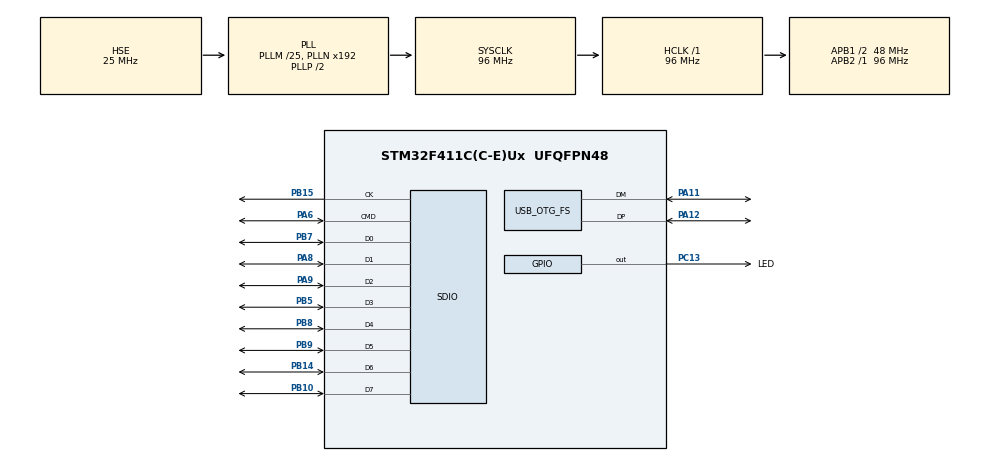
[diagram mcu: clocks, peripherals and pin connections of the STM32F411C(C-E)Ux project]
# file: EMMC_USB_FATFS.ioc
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FATFS._LFN_UNICODE=0
FATFS._MAX_SS=4096
FATFS._USE_LFN=2
Mcu.Family=STM32F4
Mcu.Name=STM32F411C(C-E)Ux
Mcu.Package=UFQFPN48
NVIC.OTG_FS_IRQn=true\:0\:0\:false\:false\:true\:false\:true\:true
NVIC.PriorityGroup=NVIC_PRIORITYGROUP_4
NVIC.TIM2_IRQn=true\:0\:0\:false\:false\:true\:true\:true\:true
PA11.Mode=Device_Only
PA11.Signal=USB_OTG_FS_DM
PA12.Mode=Device_Only
PA12.Signal=USB_OTG_FS_DP
PA13.Mode=Trace_Asynchronous_SW
PA13.Signal=SYS_JTMS-SWDIO
PA14.Mode=Trace_Asynchronous_SW
PA14.Signal=SYS_JTCK-SWCLK
PA6.Mode=mmc_8_bits_Wide_bus
PA6.Signal=SDIO_CMD
PA8.Mode=mmc_8_bits_Wide_bus
PA8.Signal=SDIO_D1
PA9.Mode=mmc_8_bits_Wide_bus
PA9.Signal=SDIO_D2
PB10.Mode=mmc_8_bits_Wide_bus
PB10.Signal=SDIO_D7
PB14.Mode=mmc_8_bits_Wide_bus
PB14.Signal=SDIO_D6
PB15.Mode=mmc_8_bits_Wide_bus
PB15.Signal=SDIO_CK
PB3.Mode=Trace_Asynchronous_SW
PB3.Signal=SYS_JTDO-SWO
PB5.Mode=mmc_8_bits_Wide_bus
PB5.Signal=SDIO_D3
PB7.Mode=mmc_8_bits_Wide_bus
PB7.Signal=SDIO_D0
PB8.Mode=mmc_8_bits_Wide_bus
PB8.Signal=SDIO_D4
PB9.Mode=mmc_8_bits_Wide_bus
PB9.Signal=SDIO_D5
PC13-ANTI_TAMP.GPIO_Label=LED
PC13-ANTI_TAMP.Signal=GPIO_Output
PH0\ -\ OSC_IN.Mode=HSE-External-Oscillator
PH0\ -\ OSC_IN.Signal=RCC_OSC_IN
PH1\ -\ OSC_OUT.Mode=HSE-External-Oscillator
PH1\ -\ OSC_OUT.Signal=RCC_OSC_OUT
ProjectManager.HeapSize=0x4000
ProjectManager.StackSize=0x8000
ProjectManager.TargetToolchain=STM32CubeIDE
RCC.48MHZClocksFreq_Value=48000000
RCC.AHBFreq_Value=96000000
RCC.APB1CLKDivider=RCC_HCLK_DIV2
RCC.APB1Freq_Value=48000000
RCC.APB1TimFreq_Value=96000000
RCC.APB2Freq_Value=96000000
RCC.APB2TimFreq_Value=96000000
RCC.CortexFreq_Value=96000000
RCC.HCLKFreq_Value=96000000
RCC.HSE_VALUE=25000000
RCC.HSI_VALUE=16000000
RCC.LSE_VALUE=32768
RCC.PLLM=25
RCC.SYSCLKFreq_VALUE=96000000
RCC.SYSCLKSource=RCC_SYSCLKSOURCE_PLLCLK
RCC.VCOOutputFreq_Value=192000000
SDIO.ClockDiv=2
TIM2.Period=1000000
TIM2.Prescaler=95
USB_DEVICE.CLASS_NAME_FS=MSC
USB_DEVICE.VirtualMode=Msc
USB_DEVICE.VirtualModeFS=Msc_FS
USB_OTG_FS.VirtualMode=Device_Only
VP_FATFS_VS_Generic.Mode=User_defined
VP_TIM2_VS_ClockSourceINT.Mode=Internal
VP_USB_DEVICE_VS_USB_DEVICE_MSC_FS.Mode=MSC_FS
board=custom

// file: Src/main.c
/* USER CODE BEGIN Header */
/**
  ******************************************************************************
  * @file           : main.c
  * @brief          : Main program body
  ******************************************************************************
  * @attention
  *
  * Copyright (c) 2022 STMicroelectronics.
  * All rights reserved.
  *
  * This software is licensed under terms that can be found in the LICENSE file
  * in the root directory of this software component.
  * If no LICENSE file comes with this software, it is provided AS-IS.
  *
  ******************************************************************************
  */
/* USER CODE END Header */
#include "main.h"
#include "fatfs.h"
#include "sdio.h"
#include "tim.h"
#include "usb_device.h"
#include "gpio.h"

/* USER CODE BEGIN PV */
FATFS fs;
FIL File;
FIL sFile;
FRESULT fres;
FILINFO info;
DIR dir;
HAL_StatusTypeDef rc;

uint32_t counter = 0;
/* USER CODE END PV */

void SystemClock_Config(void);

/* USER CODE BEGIN 0 */
int __io_putchar(int ch)
{
 // Write character to ITM ch.0
 ITM_SendChar(ch);
 return(ch);
}

int _write(int file, char *ptr, int len)
{
 /*
  int DataIdx;

  for (DataIdx = 0; DataIdx < len; DataIdx++)
  {
    __io_putchar(*ptr++);
  }
  return len;
  */
  int DataIdx;

    for (DataIdx = 0; DataIdx < len; DataIdx++)
    {
      //__io_putchar(*ptr++);
      ITM_SendChar(*ptr++);
    }
    return len;
}
/* USER CODE END 0 */

int main(void)
{

  /* MCU Configuration--------------------------------------------------------*/

  /* Reset of all peripherals, Initializes the Flash interface and the Systick. */
  HAL_Init();

  /* Configure the system clock */
  SystemClock_Config();

  /* Initialize all configured peripherals */
  MX_GPIO_Init();
  MX_SDIO_MMC_Init();
  MX_FATFS_Init();
  MX_USB_DEVICE_Init();
  MX_TIM2_Init();
  /* USER CODE BEGIN 2 */
  HAL_TIM_Base_Start_IT(&htim2);
  printf("Application started...\n");
  /* USER CODE END 2 */

  /* Infinite loop */
  while (1)
  {

  }
}

void SystemClock_Config(void)
{
  RCC_OscInitTypeDef RCC_OscInitStruct = {0};
  RCC_ClkInitTypeDef RCC_ClkInitStruct = {0};

  /** Configure the main internal regulator output voltage
  */
  __HAL_RCC_PWR_CLK_ENABLE();
  __HAL_PWR_VOLTAGESCALING_CONFIG(PWR_REGULATOR_VOLTAGE_SCALE1);

  /** Initializes the RCC Oscillators according to the specified parameters
  * in the RCC_OscInitTypeDef structure.
  */
  RCC_OscInitStruct.OscillatorType = RCC_OSCILLATORTYPE_HSE;
  RCC_OscInitStruct.HSEState = RCC_HSE_ON;
  RCC_OscInitStruct.PLL.PLLState = RCC_PLL_ON;
  RCC_OscInitStruct.PLL.PLLSource = RCC_PLLSOURCE_HSE;
  RCC_OscInitStruct.PLL.PLLM = 25;
  RCC_OscInitStruct.PLL.PLLN = 192;
  RCC_OscInitStruct.PLL.PLLP = RCC_PLLP_DIV2;
  RCC_OscInitStruct.PLL.PLLQ = 4;
  if (HAL_RCC_OscConfig(&RCC_OscInitStruct) != HAL_OK)
  {
    Error_Handler();
  }

  /** Initializes the CPU, AHB and APB buses clocks
  */
  RCC_ClkInitStruct.ClockType = RCC_CLOCKTYPE_HCLK|RCC_CLOCKTYPE_SYSCLK
                              |RCC_CLOCKTYPE_PCLK1|RCC_CLOCKTYPE_PCLK2;
  RCC_ClkInitStruct.SYSCLKSource = RCC_SYSCLKSOURCE_PLLCLK;
  RCC_ClkInitStruct.AHBCLKDivider = RCC_SYSCLK_DIV1;
  RCC_ClkInitStruct.APB1CLKDivider = RCC_HCLK_DIV2;
  RCC_ClkInitStruct.APB2CLKDivider = RCC_HCLK_DIV1;

  if (HAL_RCC_ClockConfig(&RCC_ClkInitStruct, FLASH_LATENCY_3) != HAL_OK)
  {
    Error_Handler();
  }
}

/* USER CODE BEGIN 4 */
void HAL_TIM_PeriodElapsedCallback(TIM_HandleTypeDef *htim)
{

  if(htim->Instance == TIM2)
  {
    HAL_GPIO_TogglePin(LED_GPIO_Port, LED_Pin);
    counter++;
    //printf("Counter tick = %d\n", counter);
  }
}
/* USER CODE END 4 */

void Error_Handler(void)
{
  __disable_irq();
  while (1)
  {
  }
}
